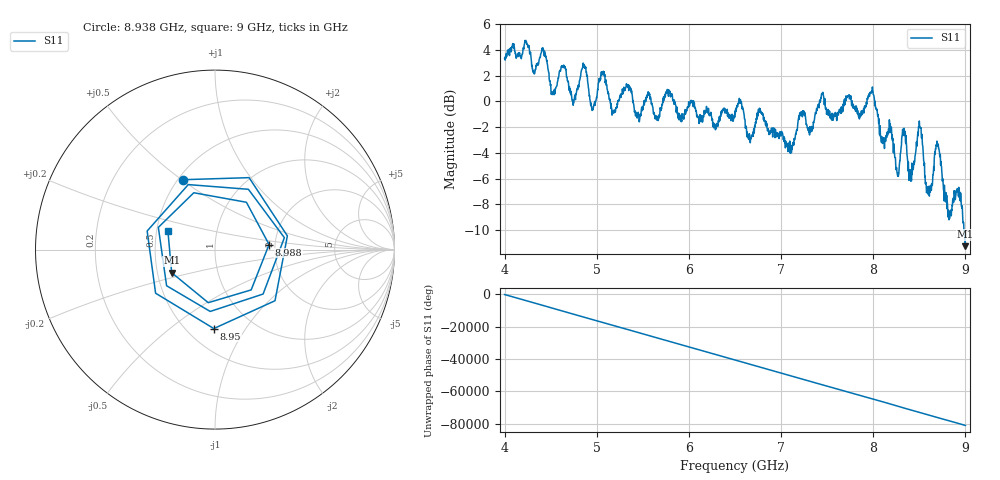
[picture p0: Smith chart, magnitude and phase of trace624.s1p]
! Created with skrf 1.8.0 (http://scikit-rf.org).
# Hz S RI R 50.0
!freq ReS11 ImS11
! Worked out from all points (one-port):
!   1601 points, 4 GHz to 9 GHz, reference 50 ohm
!   lowest |S11| = -11.3 dB at 8.997 GHz (marker M1), VSWR 1.75, Z = 29.7 - j8.26 ohm
!   |S11| at or under -10 dB: 8.984073 GHz to end of sweep
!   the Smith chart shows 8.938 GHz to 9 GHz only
!   S11 on the Smith chart (normalised r, x): 8.938 GHz: 0.53, +0.50; 8.95 GHz: 0.67, -0.73; 8.988 GHz: 1.86, +0.12; 9 GHz: 0.57, +0.13
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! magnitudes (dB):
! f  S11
! 4 GHz  3.4
! 4.422 GHz  4.0
! 4.528 GHz  0.7
! 4.625 GHz  2.6
! 4.747 GHz  -0.1
! 4.856 GHz  2.7
! 4.95 GHz  -0.7
! 5.062 GHz  2.3
! 5.178 GHz  -0.7
! 5.25 GHz  0.3
! 5.875 GHz  -1.0
! 6.5 GHz  -0.8
! 7.125 GHz  -3.3
! 7.441 GHz  0.6
! 7.75 GHz  0.3
! 7.988 GHz  0.8
! 8.259 GHz  -5.5
! 8.331 GHz  -2.3
! 8.375 GHz  -4.7
! 8.506 GHz  -2.0
! 8.594 GHz  -7.0
! 8.694 GHz  -3.2
! 8.825 GHz  -8.6
! 8.938 GHz  -7.3
! 8.95 GHz  -7.1
! 8.988 GHz  -10.4
! 8.997 GHz  -11.3
! 9 GHz  -11.0
